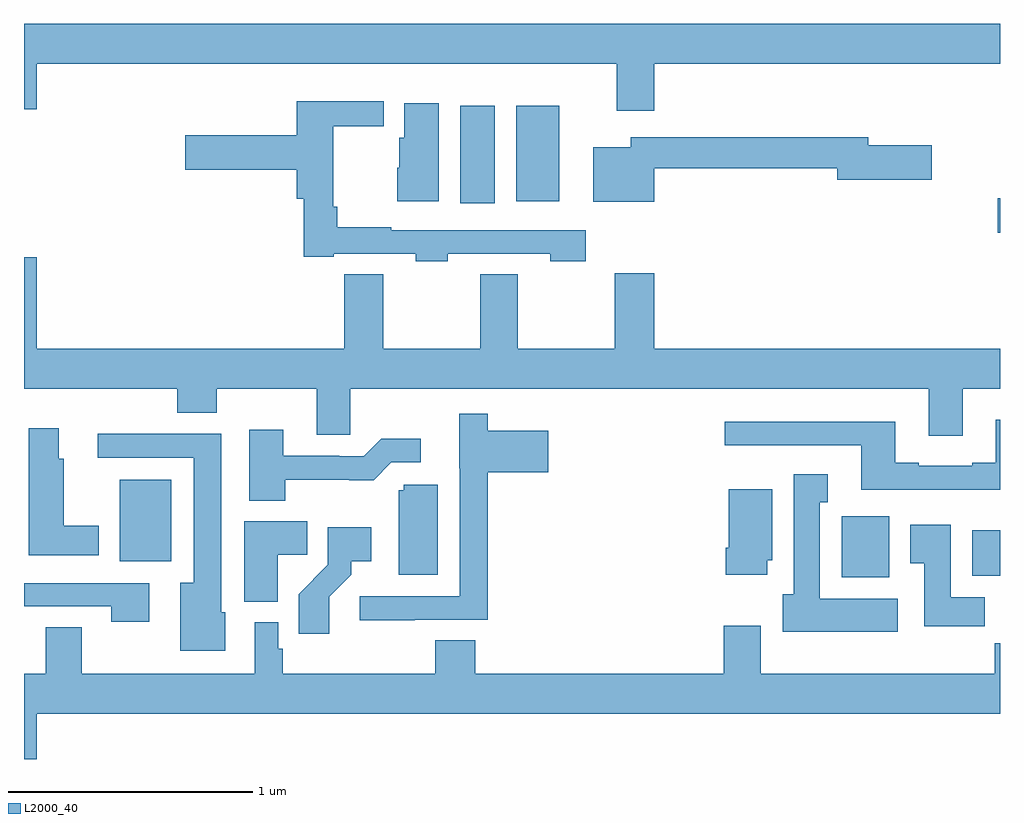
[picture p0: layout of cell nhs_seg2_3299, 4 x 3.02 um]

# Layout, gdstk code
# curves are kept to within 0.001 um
import gdstk
lib = gdstk.Library(unit=1e-6, precision=1e-09)
def R(c, l, rs):  # rectangles x0, y0, x1, y1
    for r in rs: c.add(gdstk.rectangle(r[:2], r[2:], *l))
def P(c, l, *ps):  # polygons
    for p in ps: c.add(gdstk.Polygon(p, *l))
L2000_40 = (2000, 40)

nhs_seg2_3299 = lib.new_cell('nhs_seg2_3299')
R(nhs_seg2_3299, L2000_40, [(288.351,606.902,288.547,607.152), (288.887,606.908,289,607.096), (285.392,606.968,285.604,607.303), (288.99,608.314,289,608.456), (286.787,608.436,286.93,608.836), (287.018,608.444,287.194,608.836)])
P(nhs_seg2_3299, L2000_40, [(287.582,609.008),(289,609.008),(289,609.172),(285,609.172),(285,608.82),(285.052,608.82),(285.052,609.008),(287.429,609.008),(287.429,608.814),(287.582,608.814)],
  [(286.737,608.229),(287.157,608.229),(287.157,608.197),(287.302,608.197),(287.302,608.325),(286.505,608.325),(286.505,608.338),(286.283,608.338),(286.283,608.422),(286.268,608.422),(286.268,608.752),(286.474,608.752),(286.474,608.854),(286.118,608.854),(286.118,608.715),(285.66,608.715),(285.66,608.573),(286.118,608.573),(286.118,608.453),(286.147,608.453),(286.147,608.217),(286.27,608.217),(286.27,608.229),(286.605,608.229),(286.605,608.197),(286.737,608.197)],
  [(286.699,608.845),(286.559,608.845),(286.559,608.703),(286.538,608.703),(286.538,608.58),(286.529,608.58),(286.529,608.444),(286.699,608.444)],
  [(287.584,608.578),(288.332,608.578),(288.332,608.531),(288.721,608.531),(288.721,608.673),(288.46,608.673),(288.46,608.707),(287.486,608.707),(287.486,608.665),(287.333,608.665),(287.333,608.441),(287.584,608.441)],
  [(288.847,607.676),(289,607.676),(289,607.84),(287.582,607.84),(287.582,608.149),(287.422,608.149),(287.422,607.84),(287.024,607.84),(287.024,608.144),(286.87,608.144),(286.87,607.84),(286.472,607.84),(286.472,608.144),(286.313,608.144),(286.313,607.84),(285.052,607.84),(285.052,608.215),(285,608.215),(285,607.676),(285.629,607.676),(285.629,607.577),(285.789,607.577),(285.789,607.676),(286.199,607.676),(286.199,607.486),(286.338,607.486),(286.338,607.676),(288.707,607.676),(288.707,607.482),(288.847,607.482)],
  [(286.601,606.729),(286.901,606.729),(286.901,607.334),(287.149,607.334),(287.149,607.504),(286.901,607.504),(286.901,607.573),(286.784,607.573),(286.784,607.35),(286.785,607.35),(286.785,606.825),(286.377,606.825),(286.377,606.727),(286.601,606.727)],
  [(289,607.549),(288.983,607.549),(288.983,607.372),(288.887,607.372),(288.887,607.359),(288.667,607.359),(288.667,607.372),(288.571,607.372),(288.571,607.54),(287.871,607.54),(287.871,607.443),(288.431,607.443),(288.431,607.262),(289,607.262)],
  [(285.307,607.114),(285.163,607.114),(285.163,607.389),(285.142,607.389),(285.142,607.513),(285.02,607.513),(285.02,606.992),(285.307,606.992)],
  [(286.071,607.302),(286.433,607.301),(286.506,607.374),(286.627,607.374),(286.627,607.471),(286.465,607.471),(286.392,607.398),(286.292,607.398),(286.292,607.401),(286.063,607.401),(286.063,607.507),(285.923,607.507),(285.923,607.217),(286.071,607.217)],
  [(285.825,606.759),(285.808,606.759),(285.808,607.49),(285.303,607.49),(285.303,607.392),(285.695,607.392),(285.695,606.88),(285.641,606.88),(285.641,606.602),(285.825,606.602)],
  [(288.58,606.814),(288.262,606.814),(288.262,607.211),(288.295,607.211),(288.295,607.324),(288.155,607.324),(288.155,606.834),(288.11,606.834),(288.11,606.68),(288.58,606.68)],
  [(286.696,607.281),(286.557,607.281),(286.557,607.26),(286.535,607.26),(286.535,606.912),(286.696,606.912)],
  [(288.046,606.972),(288.067,606.972),(288.067,607.264),(287.888,607.264),(287.888,607.024),(287.876,607.024),(287.876,606.912),(288.046,606.912)],
  [(286.039,606.994),(286.16,606.994),(286.16,607.132),(285.902,607.132),(285.902,606.803),(286.039,606.803)],
  [(288.938,606.82),(288.799,606.82),(288.799,607.117),(288.632,607.117),(288.632,606.961),(288.689,606.961),(288.689,606.702),(288.938,606.702)],
  [(286.252,606.823),(286.342,606.913),(286.342,606.968),(286.423,606.968),(286.423,607.108),(286.245,607.108),(286.245,606.953),(286.126,606.834),(286.126,606.672),(286.252,606.672)],
  [(285.514,606.879),(285,606.879),(285,606.783),(285.358,606.783),(285.358,606.72),(285.514,606.72)],
  [(285.052,606.344),(289,606.344),(289,606.632),(288.979,606.632),(288.979,606.508),(288.019,606.508),(288.019,606.703),(287.867,606.703),(287.867,606.508),(286.85,606.508),(286.85,606.644),(286.685,606.644),(286.685,606.508),(286.061,606.508),(286.061,606.609),(286.041,606.609),(286.041,606.718),(285.945,606.718),(285.945,606.508),(285.237,606.508),(285.237,606.698),(285.089,606.698),(285.089,606.508),(285,606.508),(285,606.156),(285.052,606.156)])

lib.write_gds('nhs_seg2_3299.gds')
